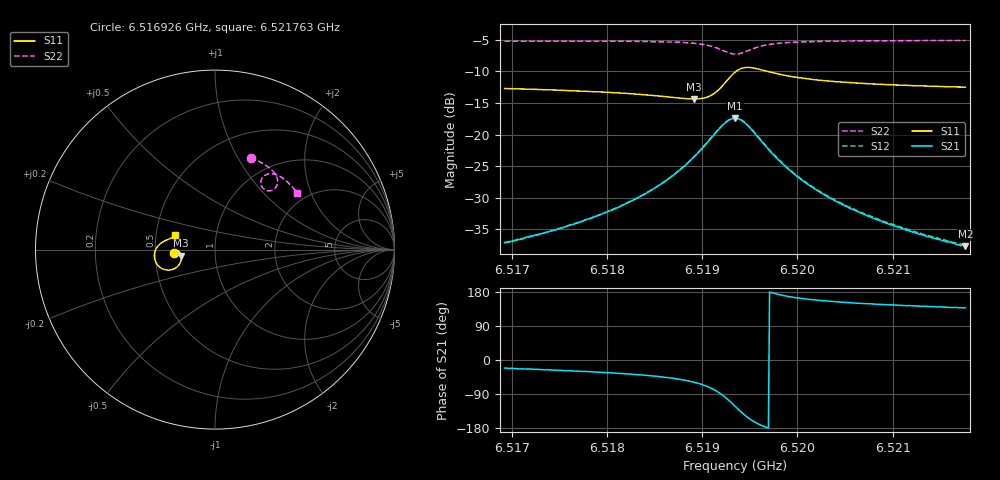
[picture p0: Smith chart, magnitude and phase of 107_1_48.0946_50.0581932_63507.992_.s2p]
#  HZ  S  RI  R  50.00
! Rohde & Schwarz Vector Network Analyzer
! Rohde-Schwarz,ZNB20-2Port,1311601062101988,3.16
! Created: UTC 12/23/2023, 3:45:22 AM
! freq[Hz]  re:S11  im:S11  re:S21  im:S21  re:S12  im:S12  re:S22  im:S22
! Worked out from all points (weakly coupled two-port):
!   401 points, 6.516926 GHz to 6.521763 GHz, reference 50 ohm
!   highest |S21| = -17.41 dB at 6.519344 GHz (marker M1); lowest = -37.7 dB at 6.521763 GHz (marker M2)
!   lowest |S11| = -14.4 dB at 6.518909 GHz (marker M3), VSWR 1.47, Z = 34.1 - j2.39 ohm
!   |S11| at or under -10 dB: start of sweep to 6.519355 GHz; 6.519687 GHz to end of sweep
!   |S22| runs from -7.3 to -5.1 dB; largest |S21 - S12| = 0.0041
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6.516926e9  -0.231 -0.0186  0.0131 -0.00509  0.0131 -0.00464  0.1981 0.5111
6.5173251e9  -0.2268 -0.0127  0.015 -0.00712  0.0153 -0.00654  0.2277 0.4992
6.5177362e9  -0.221 -0.00771  0.0179 -0.0102  0.018 -0.00969  0.2583 0.4842
6.5181352e9  -0.2134 -0.00539  0.0219 -0.0156  0.0225 -0.0149  0.2881 0.4659
6.5183529e9  -0.2079 -0.00634  0.0252 -0.0205  0.0258 -0.0199  0.3046 0.4536
6.5185464e9  -0.2018 -0.00964  0.0287 -0.0274  0.0296 -0.0266  0.3196 0.4403
6.5187399e9  -0.1945 -0.018  0.0325 -0.0388  0.034 -0.0378  0.3347 0.4223
6.5189091e9  -0.1884 -0.0337  0.0347 -0.056  0.0366 -0.0554  0.346 0.3997
6.5190301e9  -0.188 -0.0546  0.0315 -0.0763  0.0339 -0.0759  0.3491 0.3769
6.5191147e9  -0.1947 -0.0754  0.0219 -0.0954  0.0249 -0.0954  0.3446 0.3567
6.5192477e9  -0.2365 -0.1106  -0.0207 -0.1232  -0.0172 -0.1249  0.3128 0.3289
6.5193445e9  -0.2927 -0.107  -0.0711 -0.1144  -0.0683 -0.1174  0.2741 0.3358
6.5193928e9  -0.3172 -0.0889  -0.0908 -0.0959  -0.0887 -0.0993  0.2604 0.3514
6.5194533e9  -0.3344 -0.0583  -0.1027 -0.0676  -0.1016 -0.0709  0.2551 0.3748
6.51955e9  -0.3352 -0.0135  -0.0986 -0.0291  -0.0984 -0.0323  0.267 0.4044
6.5196589e9  -0.3199 0.0175  -0.082 -0.00517  -0.0826 -0.00759  0.2895 0.4196
6.5198886e9  -0.2891 0.0437  -0.0534 0.0111  -0.0544 0.00967  0.3288 0.4212
6.5201547e9  -0.2679 0.0539  -0.0358 0.0136  -0.0366 0.0128  0.3594 0.4093
6.5205416e9  -0.2506 0.0612  -0.023 0.0127  -0.0239 0.0121  0.3908 0.3876
6.5209648e9  -0.239 0.0675  -0.0162 0.0111  -0.0168 0.0108  0.4179 0.3625
6.5214243e9  -0.2298 0.0738  -0.0118 0.00954  -0.0123 0.00949  0.4429 0.3348
6.5217629e9  -0.224 0.0786  -0.00973 0.00876  -0.0101 0.00869  0.4593 0.3137
